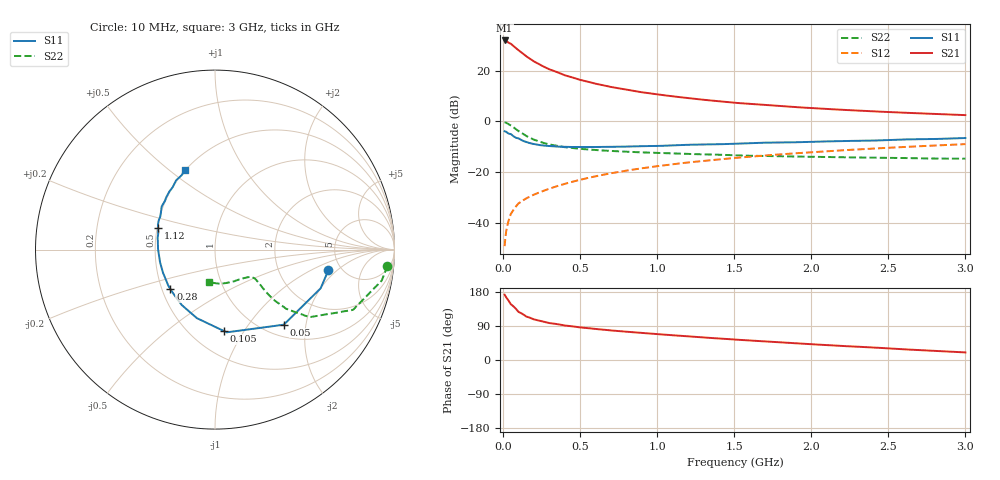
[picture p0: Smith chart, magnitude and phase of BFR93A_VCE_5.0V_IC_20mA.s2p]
! Infineon Technologies  Discrete & RF Semiconductors
! BFR93A
! VCE =  5.0 V,  IC =  20 mA
! Common Emitter S-Parameters:  Nov 2015
# GHz  S  MA  R  50
!  f  S11  S21  S12  S22
! GHz  MAG  ANG  MAG  ANG  MAG  ANG  MAG  ANG
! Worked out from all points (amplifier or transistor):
!   180 points, 10 MHz to 3 GHz, reference 50 ohm
!   highest |S21| = 31.9 dB at 10 MHz (marker M1)
!   |S21| within 3 dB of that: start of sweep to 82.88 MHz
!   unconditionally stable (mu >= 1): 442.2 MHz to 2.639 GHz
!   at 160 MHz: K = 0.68, MSG = 27.7 dB, |S12| = -30.0 dB
!   at 1.22 GHz: K = 1.07, MAG = 10.9 dB, |S12| = -16.0 dB
!   at 3 GHz: K = 0.98, MSG = 5.7 dB, |S12| = -8.9 dB
!   S11 on the Smith chart (normalised r, x): 10 MHz: 3.96, -1.53; 50 MHz: 1.22, -1.51; 105 MHz: 0.71, -0.82; 280 MHz: 0.55, -0.27; 1.12 GHz: 0.51, +0.14; 3 GHz: 0.50, +0.57
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0.01  0.6422 -10.2  39.38 172.3  0.0035 85.2  0.9651 -5.4
0.02  0.6269 -20.1  38.48 165.5  0.0068 81.1  0.9449 -10.5
0.05  0.5674 -47.5  33.94 147.2  0.015 71.2  0.839 -23.6
0.1  0.4655 -81.9  25.36 127.0  0.0243 63.2  0.647 -35.6
0.105  0.4556 -83.8  24.71 126.1  0.0249 63.0  0.6339 -35.9
0.15  0.3951 -104.8  19.21 114.8  0.0305 61.7  0.5171 -39.7
0.2  0.3601 -121.0  15.24 107.2  0.0362 62.4  0.4379 -40.5
0.24  0.3414 -130.6  13.08 102.9  0.0406 63.2  0.3969 -40.2
0.26  0.3358 -134.9  12.17 100.9  0.0428 63.8  0.38 -39.9
0.28  0.3318 -138.4  11.4 99.3  0.0451 64.4  0.3665 -39.6
0.3  0.3291 -142.0  10.65 97.5  0.0474 65.0  0.3531 -39.2
0.4  0.317 -156.3  8.133 91.1  0.059 67.0  0.3113 -37.5
0.52  0.3137 -168.8  6.383 85.3  0.0735 67.9  0.2857 -36.3
0.6  0.314 -175.1  5.546 81.8  0.0833 68.3  0.2731 -36.0
0.7  0.3175 179.2  4.78 78.0  0.0954 68.2  0.2623 -36.4
0.9  0.3265 168.2  3.762 71.5  0.1196 67.4  0.2461 -38.2
1.02  0.3306 162.9  3.35 67.7  0.1339 66.4  0.2398 -39.9
1.12  0.3393 159.1  3.077 64.8  0.1461 65.7  0.2339 -41.8
1.52  0.365 145.7  2.313 53.5  0.1931 61.9  0.215 -50.5
2.02  0.3994 132.6  1.822 41.2  0.2498 56.6  0.2006 -64.4
2.52  0.4329 121.2  1.523 30.2  0.3055 50.6  0.1917 -80.9
3  0.4718 110.7  1.333 20.0  0.3578 44.8  0.1849 -101.0
